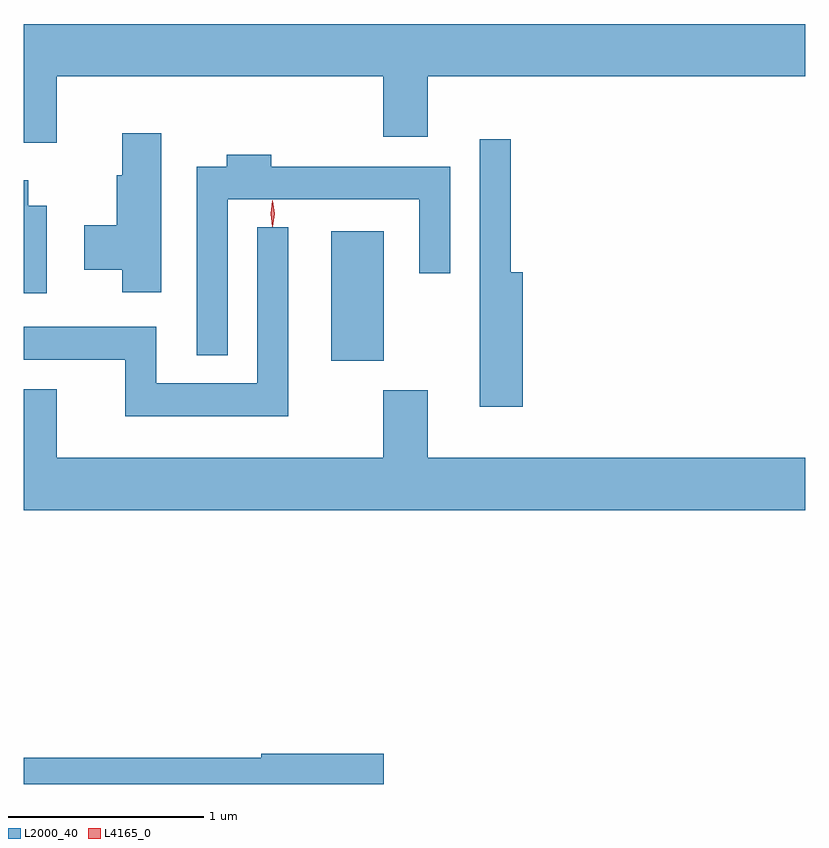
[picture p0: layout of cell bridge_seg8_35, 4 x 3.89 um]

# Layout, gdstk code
import gdstk
lib = gdstk.Library(unit=1e-6, precision=1e-09)
def R(c, l, rs):  # rectangles x0, y0, x1, y1
    for r in rs: c.add(gdstk.rectangle(r[:2], r[2:], *l))
def P(c, l, *ps):  # polygons
    for p in ps: c.add(gdstk.Polygon(p, *l))
L2000_40 = (2000, 40)
L4165_0 = (4165, 0)

bridge_seg8_35 = lib.new_cell('bridge_seg8_35')
R(bridge_seg8_35, L2000_40, [(1482.136,1941.521,1482.404,1942.184)])
P(bridge_seg8_35, L2000_40, [(1480.729,1942.976),(1482.401,1942.976),(1482.401,1942.666),(1482.629,1942.666),(1482.629,1942.976),(1484.561,1942.976),(1484.561,1943.244),(1480.561,1943.244),(1480.561,1942.636),(1480.729,1942.636)],
  [(1481.264,1942.684),(1481.066,1942.684),(1481.066,1942.469),(1481.036,1942.469),(1481.036,1942.214),(1480.871,1942.214),(1480.871,1941.986),(1481.066,1941.986),(1481.066,1941.871),(1481.264,1941.871)],
  [(1483.114,1941.974),(1483.054,1941.974),(1483.054,1942.653),(1482.896,1942.653),(1482.896,1941.286),(1483.114,1941.286)],
  [(1481.604,1942.346),(1482.586,1942.346),(1482.586,1941.968),(1482.744,1941.968),(1482.744,1942.514),(1481.829,1942.514),(1481.829,1942.574),(1481.601,1942.574),(1481.601,1942.514),(1481.446,1942.514),(1481.446,1941.548),(1481.604,1941.548)],
  [(1480.679,1942.314),(1480.584,1942.314),(1480.584,1942.444),(1480.561,1942.444),(1480.561,1941.866),(1480.679,1941.866)],
  [(1481.914,1942.203),(1481.756,1942.203),(1481.756,1941.404),(1481.239,1941.404),(1481.239,1941.694),(1480.561,1941.694),(1480.561,1941.526),(1481.081,1941.526),(1481.081,1941.236),(1481.914,1941.236)],
  [(1484.561,1941.024),(1482.629,1941.024),(1482.629,1941.369),(1482.401,1941.369),(1482.401,1941.024),(1480.729,1941.024),(1480.729,1941.374),(1480.561,1941.374),(1480.561,1940.756),(1484.561,1940.756)],
  [(1482.404,1939.509),(1481.776,1939.509),(1481.776,1939.489),(1480.561,1939.489),(1480.561,1939.354),(1482.404,1939.354)])
P(bridge_seg8_35, L4165_0, [(1481.834,1942.207),(1481.825,1942.274),(1481.834,1942.34),(1481.835,1942.341),(1481.835,1942.34),(1481.845,1942.274),(1481.835,1942.207),(1481.835,1942.207)])

lib.write_gds('bridge_seg8_35.gds')
